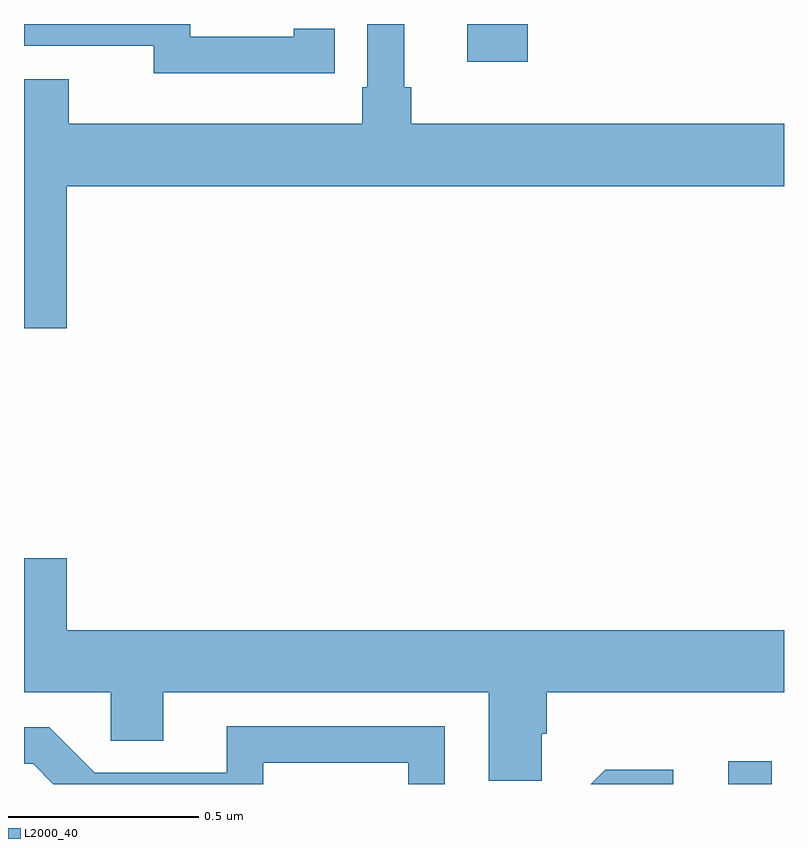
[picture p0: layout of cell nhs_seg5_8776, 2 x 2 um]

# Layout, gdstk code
import gdstk
lib = gdstk.Library(unit=1e-6, precision=1e-09)
def R(c, l, rs):  # rectangles x0, y0, x1, y1
    for r in rs: c.add(gdstk.rectangle(r[:2], r[2:], *l))
def P(c, l, *ps):  # polygons
    for p in ps: c.add(gdstk.Polygon(p, *l))
L2000_40 = (2000, 40)

nhs_seg5_8776 = lib.new_cell('nhs_seg5_8776')
R(nhs_seg5_8776, L2000_40, [(226.853,909.799,226.968,909.859), (226.166,911.7,226.325,911.799)])
P(nhs_seg5_8776, L2000_40, [(225.71,911.67),(225.818,911.67),(225.818,911.786),(225.71,911.786),(225.71,911.766),(225.438,911.766),(225.438,911.799),(225,911.799),(225,911.742),(225.342,911.742),(225.342,911.669),(225.71,911.669)],
  [(225.112,911.372),(227,911.372),(227,911.536),(226.019,911.536),(226.019,911.632),(226,911.632),(226,911.799),(225.903,911.799),(225.903,911.632),(225.89,911.632),(225.89,911.536),(225.118,911.536),(225.118,911.653),(225,911.653),(225,910.998),(225.112,910.998)],
  [(226.362,909.931),(226.376,909.931),(226.376,910.04),(227,910.04),(227,910.204),(225.112,910.204),(225.112,910.393),(225,910.393),(225,910.04),(225.228,910.04),(225.228,909.913),(225.367,909.913),(225.367,910.04),(226.223,910.04),(226.223,909.808),(226.362,909.808)],
  [(225.63,909.855),(226.011,909.855),(226.011,909.799),(226.107,909.799),(226.107,909.951),(225.533,909.951),(225.533,909.828),(225.186,909.828),(225.066,909.948),(225,909.948),(225,909.852),(225.024,909.852),(225.077,909.799),(225.63,909.799)],
  [(226.708,909.836),(226.529,909.836),(226.492,909.799),(226.708,909.799)])

lib.write_gds('nhs_seg5_8776.gds')
